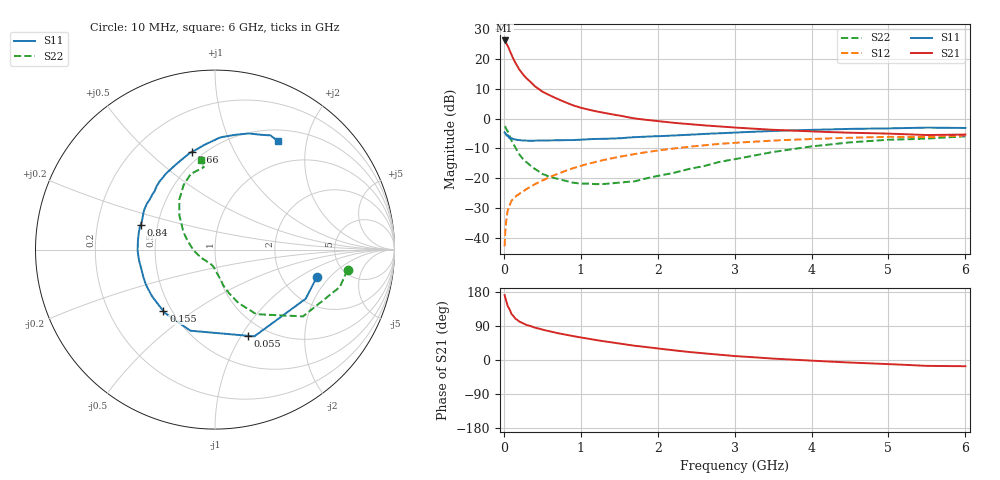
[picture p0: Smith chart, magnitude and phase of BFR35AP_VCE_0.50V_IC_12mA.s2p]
! Infineon Technologies  Discrete & RF Semiconductors
! BFR35AP
! VCE = 0.50 V,  IC =  12 mA
! Common Emitter S-Parameters:  Nov 2015
# GHz  S  MA  R  50
!  f  S11  S21  S12  S22
! GHz  MAG  ANG  MAG  ANG  MAG  ANG  MAG  ANG
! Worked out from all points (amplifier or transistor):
!   210 points, 10 MHz to 6 GHz, reference 50 ohm
!   highest |S21| = 26.3 dB at 10 MHz (marker M1)
!   |S21| within 3 dB of that: start of sweep to 69.34 MHz
!   unconditionally stable (mu >= 1): start of sweep to 10.28 MHz; 173.8 MHz to end of sweep
!   at 185 MHz: K = 1.05, MAG = 20.1 dB, |S12| = -25.6 dB
!   at 1.52 GHz: K = 1.63, MAG = 2.2 dB, |S12| = -12.7 dB
!   at 6 GHz: K = 1.17, MAG = -2.3 dB, |S12| = -5.6 dB
!   S11 on the Smith chart (normalised r, x): 10 MHz: 3.11, -1.45; 55 MHz: 0.82, -1.07; 155 MHz: 0.45, -0.39; 840 MHz: 0.40, +0.14; 2.66 GHz: 0.44, +0.69; 6 GHz: 0.65, +1.54
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0.01  0.5875 -15.1  20.64 171.2  0.0072 79.1  0.7469 -8.7
0.02  0.575 -28.4  19.99 162.9  0.0134 75.8  0.726 -16.7
0.05  0.5307 -65.6  16.79 142.1  0.0288 61.6  0.6157 -37.2
0.055  0.5141 -69.1  16.21 140.6  0.03 60.0  0.5944 -38.6
0.1  0.4723 -106.9  11.71 121.1  0.0418 49.7  0.427 -57.4
0.15  0.4502 -128.5  8.683 109.1  0.049 47.7  0.3247 -66.3
0.155  0.4475 -130.0  8.481 108.5  0.0495 47.8  0.3173 -66.8
0.2  0.4368 -143.6  6.713 101.5  0.0543 48.6  0.252 -72.5
0.24  0.4317 -151.7  5.741 97.4  0.0589 49.7  0.2155 -75.9
0.3  0.4265 -160.4  4.698 92.2  0.0661 52.0  0.1818 -78.3
0.4  0.4275 -172.2  3.533 85.6  0.0786 54.4  0.1442 -82.9
0.5  0.4314 -179.2  2.851 80.1  0.0913 56.6  0.1178 -88.3
0.6  0.4322 174.4  2.454 75.4  0.1046 57.3  0.1049 -91.8
0.84  0.4363 161.7  1.798 65.4  0.1383 57.8  0.0877 -101.4
1.02  0.4467 153.4  1.503 58.7  0.1638 56.9  0.081 -113.5
1.6  0.4804 132.6  1.065 40.5  0.2415 50.5  0.0869 -146.8
2.02  0.5084 120.1  0.905 29.9  0.2938 44.4  0.1103 -172.8
2.66  0.5593 103.3  0.763 16.5  0.3627 34.6  0.1674 159.7
3.1  0.5921 94.3  0.697 9.2  0.4004 27.7  0.2201 145.9
4.1  0.6534 78.8  0.604 -2.9  0.4612 13.3  0.3528 123.4
5.1  0.6905 67.8  0.555 -11.7  0.4939 0.6  0.4457 105.7
6  0.6981 59.7  0.542 -16.4  0.5228 -7.9  0.5057 99.1
